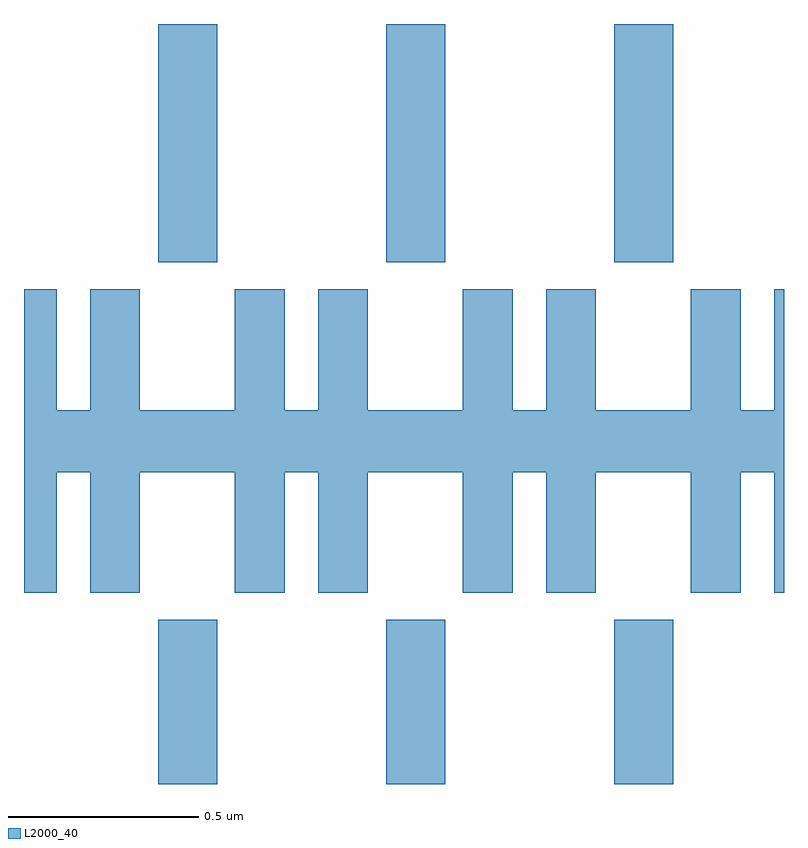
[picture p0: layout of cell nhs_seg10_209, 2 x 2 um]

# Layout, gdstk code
import gdstk
lib = gdstk.Library(unit=1e-6, precision=1e-09)
def R(c, l, rs):  # rectangles x0, y0, x1, y1
    for r in rs: c.add(gdstk.rectangle(r[:2], r[2:], *l))
def A(c, l, x, y, w, h, nx, ny, dx, dy):  # array of equal rectangles
    R(c, l, [(x+i*dx, y+j*dy, x+i*dx+w, y+j*dy+h) for i in range(nx) for j in range(ny)])
def P(c, l, *ps):  # polygons
    for p in ps: c.add(gdstk.Polygon(p, *l))
L2000_40 = (2000, 40)

nhs_seg10_209 = lib.new_cell('nhs_seg10_209')
A(nhs_seg10_209, L2000_40, 113.353, 1295.5, 0.155, 0.432, 3, 1, 0.6, 0)
A(nhs_seg10_209, L2000_40, 113.353, 1296.873, 0.155, 0.627, 3, 1, 0.6, 0)
P(nhs_seg10_209, L2000_40, [(113.086,1296.32),(113.174,1296.32),(113.174,1296.003),(113.305,1296.003),(113.305,1296.32),(113.555,1296.32),(113.555,1296.003),(113.686,1296.003),(113.686,1296.32),(113.774,1296.32),(113.774,1296.003),(113.905,1296.003),(113.905,1296.32),(114.155,1296.32),(114.155,1296.003),(114.286,1296.003),(114.286,1296.32),(114.374,1296.32),(114.374,1296.003),(114.505,1296.003),(114.505,1296.32),(114.755,1296.32),(114.755,1296.003),(114.886,1296.003),(114.886,1296.32),(114.974,1296.32),(114.974,1296.003),(115,1296.003),(115,1296.802),(114.974,1296.802),(114.974,1296.484),(114.886,1296.484),(114.886,1296.802),(114.755,1296.802),(114.755,1296.484),(114.505,1296.484),(114.505,1296.802),(114.374,1296.802),(114.374,1296.484),(114.286,1296.484),(114.286,1296.802),(114.155,1296.802),(114.155,1296.484),(113.905,1296.484),(113.905,1296.802),(113.774,1296.802),(113.774,1296.484),(113.686,1296.484),(113.686,1296.802),(113.555,1296.802),(113.555,1296.484),(113.305,1296.484),(113.305,1296.802),(113.174,1296.802),(113.174,1296.484),(113.086,1296.484),(113.086,1296.802),(113,1296.802),(113,1296.003),(113.086,1296.003)])

lib.write_gds('nhs_seg10_209.gds')
